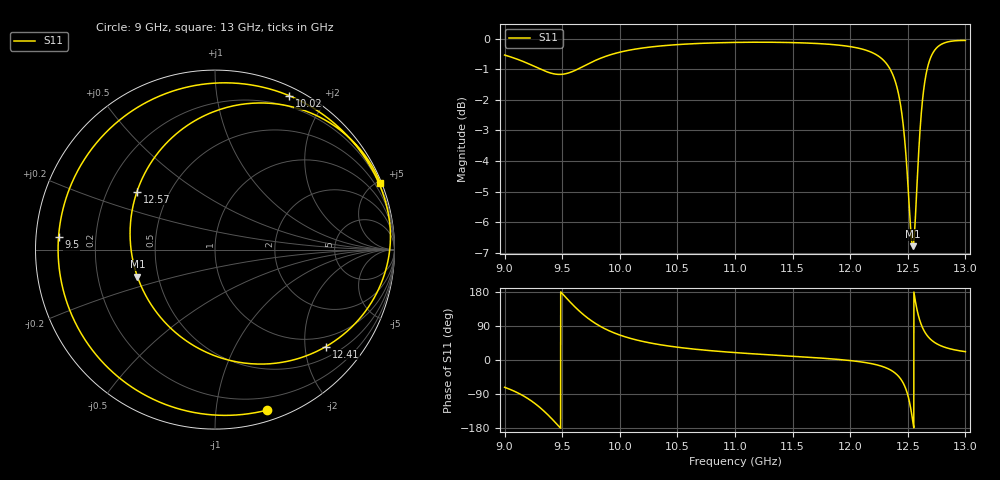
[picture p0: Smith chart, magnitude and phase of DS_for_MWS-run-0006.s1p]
! TOUCHSTONE file generated by CST DESIGN STUDIO
! Date and time: Wed Feb  5 13:21:50 2025
! Project name: C:\Work\MatlabApps\UnitCellOptimizationMatlab\CST\unitcell.cst
! Tree item: Tasks\Sweep1\SPara1\S-Parameters
! Header version: 2024
! Port assignment regex: !\s*Touchstone port\s*([0-9]+)\s*=\s*(CST MWS port|CST DES external port|CST DES block port)\s*(.+)\s* \(\"(.*)\"\)(\s*mode\s*([0-9]+))?.*
! Touchstone port assignment:
! Touchstone port 1 = CST DES external port 1 ("")
# GHz S MA R 50
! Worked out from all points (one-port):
!   4001 points, 9 GHz to 13 GHz, reference 50 ohm
!   lowest |S11| = -6.8 dB at 12.54 GHz (marker M1), VSWR 2.69, Z = 19.1 - j7.31 ohm
!   |S11| at or under -10 dB: nowhere
!   S11 on the Smith chart (normalised r, x): 9 GHz: 0.09, -1.37; 9.5 GHz: 0.07, +0.04; 10.02 GHz: 0.09, +1.59; 12.41 GHz: 0.75, -2.47; 12.57 GHz: 0.33, +0.30; 13 GHz: 0.09, +5.14
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9  0.9404 -72.0
9.162  0.9176 -94.5
9.278  0.8975 -118.3
9.406  0.8779 -153.9
9.5  0.8746 175.4
9.614  0.8879 139.1
9.715  0.9076 112.2
9.832  0.9289 88.6
10  0.9505 65.9
10.016  0.952 64.2
10.224  0.9671 47.4
10.5  0.978 33.8
11  0.9862 19.6
11.5  0.9855 9.9
12  0.9706 -1.5
12.282  0.9248 -17.3
12.414  0.8211 -41.1
12.458  0.7291 -59.6
12.5  0.5824 -92.5
12.521  0.5004 -120.4
12.543  0.4579 -160.7
12.573  0.5418 143.3
12.601  0.6841 107.6
12.63  0.8011 84.0
12.674  0.9013 62.3
12.725  0.9527 47.9
12.829  0.9859 32.8
13  0.9934 22.0
